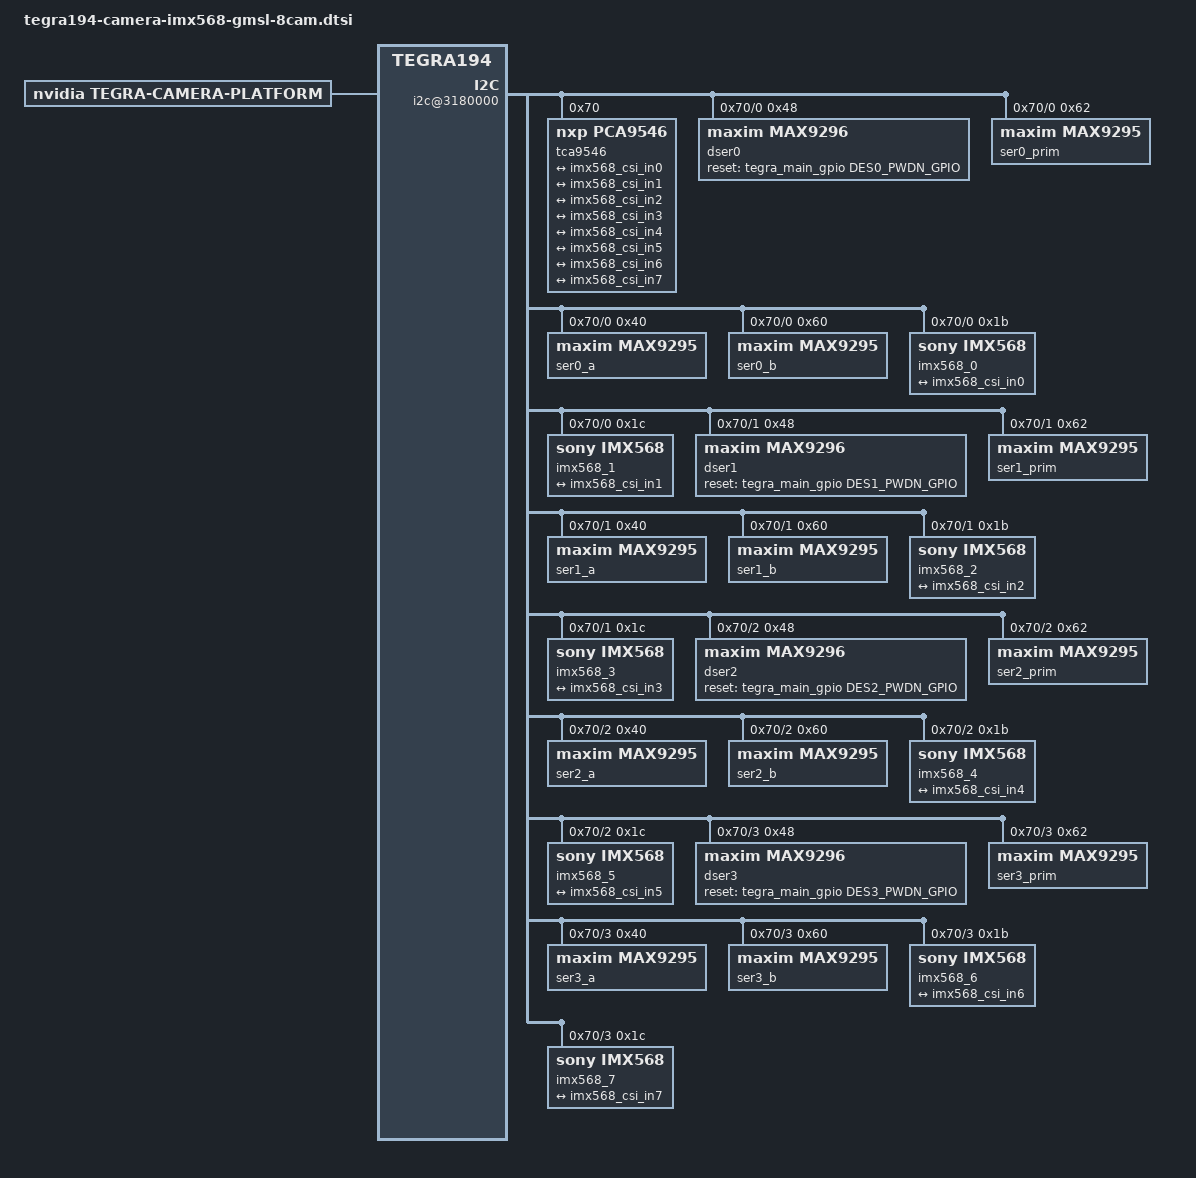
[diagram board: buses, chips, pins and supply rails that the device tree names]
/*
 * tegra194-camera-imx568-gmsl-8cam.dtsi  -- GENERATED by gen_dtsi.py
 *
 * 8 x IMX568 (4 stereo pairs) over GMSL2 on Jetson AGX Xavier (L4T R35.x).
 * Include from your board .dts (e.g. tegra194-p2888-0001-p2822-0000.dts):
 *     #include "tegra194-camera-imx568-gmsl-8cam.dtsi"
 *
 * EDIT THE BOARD MACROS BELOW to match your carrier/camera schematics.
 */
#include <dt-bindings/gpio/tegra194-gpio.h>

/* ---- carrier board: MAX9296A reset (PWDNB) GPIOs from the Xavier camera connector */
#ifndef DES0_PWDN_GPIO
#define DES0_PWDN_GPIO TEGRA194_MAIN_GPIO(H, 3)	/* CAM0_PWDN  - VERIFY */
#define DES1_PWDN_GPIO TEGRA194_MAIN_GPIO(H, 6)	/* CAM1_PWDN  - VERIFY */
#define DES2_PWDN_GPIO TEGRA194_MAIN_GPIO(T, 6)	/* CAM2_PWDN  - VERIFY */
#define DES3_PWDN_GPIO TEGRA194_MAIN_GPIO(T, 7)	/* CAM3_PWDN  - VERIFY */
#endif

/* ---- camera head: MAX9295A MFP numbers (0..10) used for each function.
 * Must match the camera-head schematic; avoid MFPs strapped/used for
 * CFG, LOCK, ERRB, RCLKOUT or I2C pass-through (see MAX9295A DS). */
#define SER_MFP_EN_1V1	0
#define SER_MFP_EN_1V8	1
#define SER_MFP_EN_2V9	2
#define SER_MFP_EN_3V3	3
#define SER_MFP_XCLR	4
#define SER_MFP_XTRIG	7
#define SER_MFP_TOUT0	8

/* ---- MAX9296A: MFP that receives TRIGk from the sync controller and
 * forwards it as GMSL GPIO ID 0 to both links.  GPIO block base and bit
 * layout (GPIO_A: [1]=GPIO_TX_EN [0]=GPIO_OUT_DIS, GPIO_B[4:0]=TX_ID)
 * - VERIFY against the MAX9296A user guide before first power-up. */
#define DES_TRIG_MFP	2
#define DES_GPIO_A(n)	(0x2B0 + 3 * (n))
#define DES_GPIO_B(n)	(0x2B1 + 3 * (n))

/ {
	tegra-capture-vi {
		num-channels = <8>;
		ports {
			#address-cells = <1>;
			#size-cells = <0>;
			port@0 {
				reg = <0>;
				imx568_vi_in0: endpoint {
					vc-id = <0>;
					port-index = <0>;
					bus-width = <4>;
					remote-endpoint = <&imx568_csi_out0>;
				};
			};
			port@1 {
				reg = <1>;
				imx568_vi_in1: endpoint {
					vc-id = <1>;
					port-index = <0>;
					bus-width = <4>;
					remote-endpoint = <&imx568_csi_out1>;
				};
			};
			port@2 {
				reg = <2>;
				imx568_vi_in2: endpoint {
					vc-id = <0>;
					port-index = <2>;
					bus-width = <4>;
					remote-endpoint = <&imx568_csi_out2>;
				};
			};
			port@3 {
				reg = <3>;
				imx568_vi_in3: endpoint {
					vc-id = <1>;
					port-index = <2>;
					bus-width = <4>;
					remote-endpoint = <&imx568_csi_out3>;
				};
			};
			port@4 {
				reg = <4>;
				imx568_vi_in4: endpoint {
					vc-id = <0>;
					port-index = <4>;
					bus-width = <4>;
					remote-endpoint = <&imx568_csi_out4>;
				};
			};
			port@5 {
				reg = <5>;
				imx568_vi_in5: endpoint {
					vc-id = <1>;
					port-index = <4>;
					bus-width = <4>;
					remote-endpoint = <&imx568_csi_out5>;
				};
			};
			port@6 {
				reg = <6>;
				imx568_vi_in6: endpoint {
					vc-id = <0>;
					port-index = <5>;
					bus-width = <4>;
					remote-endpoint = <&imx568_csi_out6>;
				};
			};
			port@7 {
				reg = <7>;
				imx568_vi_in7: endpoint {
					vc-id = <1>;
					port-index = <5>;
					bus-width = <4>;
					remote-endpoint = <&imx568_csi_out7>;
				};
			};
		};
	};

	host1x@13e00000 {
		nvcsi@15a00000 {
			num-channels = <8>;
			#address-cells = <1>;
			#size-cells = <0>;
			channel@0 {
				reg = <0>;
				ports {
					#address-cells = <1>;
					#size-cells = <0>;
					port@0 {
						reg = <0>;
						imx568_csi_in0: endpoint@0 {
							port-index = <0>;
							bus-width = <4>;
							remote-endpoint = <&imx568_out0>;
						};
					};
					port@1 {
						reg = <1>;
						imx568_csi_out0: endpoint@1 {
							remote-endpoint = <&imx568_vi_in0>;
						};
					};
				};
			};
			channel@1 {
				reg = <1>;
				ports {
					#address-cells = <1>;
					#size-cells = <0>;
					port@0 {
						reg = <0>;
						imx568_csi_in1: endpoint@2 {
							port-index = <0>;
							bus-width = <4>;
							remote-endpoint = <&imx568_out1>;
						};
					};
					port@1 {
						reg = <1>;
						imx568_csi_out1: endpoint@3 {
							remote-endpoint = <&imx568_vi_in1>;
						};
					};
				};
			};
			channel@2 {
				reg = <2>;
				ports {
					#address-cells = <1>;
					#size-cells = <0>;
					port@0 {
						reg = <0>;
						imx568_csi_in2: endpoint@4 {
							port-index = <2>;
							bus-width = <4>;
							remote-endpoint = <&imx568_out2>;
						};
					};
					port@1 {
						reg = <1>;
						imx568_csi_out2: endpoint@5 {
							remote-endpoint = <&imx568_vi_in2>;
						};
					};
				};
			};
			channel@3 {
				reg = <3>;
				ports {
					#address-cells = <1>;
					#size-cells = <0>;
					port@0 {
						reg = <0>;
						imx568_csi_in3: endpoint@6 {
							port-index = <2>;
							bus-width = <4>;
							remote-endpoint = <&imx568_out3>;
						};
					};
					port@1 {
						reg = <1>;
						imx568_csi_out3: endpoint@7 {
							remote-endpoint = <&imx568_vi_in3>;
						};
					};
				};
			};
			channel@4 {
				reg = <4>;
				ports {
					#address-cells = <1>;
					#size-cells = <0>;
					port@0 {
						reg = <0>;
						imx568_csi_in4: endpoint@8 {
							port-index = <4>;
							bus-width = <4>;
							remote-endpoint = <&imx568_out4>;
						};
					};
					port@1 {
						reg = <1>;
						imx568_csi_out4: endpoint@9 {
							remote-endpoint = <&imx568_vi_in4>;
						};
					};
				};
			};
			channel@5 {
				reg = <5>;
				ports {
					#address-cells = <1>;
					#size-cells = <0>;
					port@0 {
						reg = <0>;
						imx568_csi_in5: endpoint@10 {
							port-index = <4>;
							bus-width = <4>;
							remote-endpoint = <&imx568_out5>;
						};
					};
					port@1 {
						reg = <1>;
						imx568_csi_out5: endpoint@11 {
							remote-endpoint = <&imx568_vi_in5>;
						};
					};
				};
			};
			channel@6 {
				reg = <6>;
				ports {
					#address-cells = <1>;
					#size-cells = <0>;
					port@0 {
						reg = <0>;
						imx568_csi_in6: endpoint@12 {
							port-index = <6>;
							bus-width = <4>;
							remote-endpoint = <&imx568_out6>;
						};
					};
					port@1 {
						reg = <1>;
						imx568_csi_out6: endpoint@13 {
							remote-endpoint = <&imx568_vi_in6>;
						};
					};
				};
			};
			channel@7 {
				reg = <7>;
				ports {
					#address-cells = <1>;
					#size-cells = <0>;
					port@0 {
						reg = <0>;
						imx568_csi_in7: endpoint@14 {
							port-index = <6>;
							bus-width = <4>;
							remote-endpoint = <&imx568_out7>;
						};
					};
					port@1 {
						reg = <1>;
						imx568_csi_out7: endpoint@15 {
							remote-endpoint = <&imx568_vi_in7>;
						};
					};
				};
			};
		};
	};

	i2c@3180000 {			/* CAM_I2C on the Xavier camera connector */
		tca9546@70 {
			compatible = "nxp,pca9546";
			reg = <0x70>;
			#address-cells = <1>;
			#size-cells = <0>;
			skip_mux_detect = "yes";
			vcc_lp = "vcc";
			force_bus_start = <30>;	/* mux channels become i2c-30..33 */

		i2c@0 {	/* stereo pair 0 (front) */
			reg = <0>;
			i2c-mux,deselect-on-exit;
			#address-cells = <1>;
			#size-cells = <0>;

			dser0: max9296@48 {
				compatible = "maxim,max9296";
				reg = <0x48>;
				csi-mode = "2x4";
				max-src = <2>;
				reset-gpios = <&tegra_main_gpio DES0_PWDN_GPIO GPIO_ACTIVE_HIGH>;
			};
			ser0_prim: max9295_prim@62 {
				compatible = "maxim,max9295";
				reg = <0x62>;		/* power-on address (CFG strap) */
				is-prim-ser;
			};
			ser0_a: max9295_a@40 {
				compatible = "maxim,max9295";
				reg = <0x40>;
				nvidia,gmsl-dser-device = <&dser0>;
			};
			ser0_b: max9295_b@60 {
				compatible = "maxim,max9295";
				reg = <0x60>;
				nvidia,gmsl-dser-device = <&dser0>;
			};

			imx568_0: imx568_a@1b {
				compatible = "sony,imx568";
				reg = <0x1b>;		/* proxy address seen by Tegra */
				def-addr = <0x1a>;		/* IMX568 common 2nd address (DS 14.4) */
				devnode = "video0";
				physical_w = "6.708";
				physical_h = "5.612";
				sensor_model = "imx568";
				use_sensor_mode_id = "true";
				post_crop_frame_drop = "0";
				nvidia,gmsl-ser-device = <&ser0_a>;
				nvidia,gmsl-dser-device = <&dser0>;

				imx568,sync-mode = "fast-trigger";	/* or "master" for bring-up */
				imx568,mfp-en = <SER_MFP_EN_1V1 SER_MFP_EN_1V8 SER_MFP_EN_2V9 SER_MFP_EN_3V3>;
				imx568,mfp-xclr = <SER_MFP_XCLR>;
				imx568,mfp-xtrig = <SER_MFP_XTRIG>;
				imx568,mfp-tout0 = <SER_MFP_TOUT0>;
				imx568,gmsl-gpio-id-trig = <0>;
				imx568,gmsl-gpio-id-tout0 = <1>;
				/* imx568,dser-phy-rate-mbps = <2000>;  needed for 2448x2048 above ~25 fps */
				imx568,dser-init-regs = /bits/ 16 <DES_GPIO_A(DES_TRIG_MFP) 0x03
								   DES_GPIO_B(DES_TRIG_MFP) 0x00>;

				mode0 {	/* 1224x1024 RAW12 (mono, read as Y12) */
					mclk_khz = "74250";
					num_lanes = "4";
					tegra_sinterface = "serial_a";
					vc_id = "0";
					discontinuous_clk = "no";
					dpcm_enable = "false";
					cil_settletime = "0";
					dynamic_pixel_bit_depth = "12";
					csi_pixel_bit_depth = "12";
					mode_type = "bayer";
					pixel_phase = "rggb";	/* mono sensor: no CFA, ISP not used */
					active_w = "1224";
					active_h = "1024";
					readout_orientation = "0";
					line_length = "2400";	/* 4 x HMAX: 1H = line_length / pix_clk_hz */
					inherent_gain = "1";
					pix_clk_hz = "297000000";	/* 4 x 74.25 MHz, >= peak pixel rate */
					serdes_pix_clk_hz = "833333333";
					gain_factor = "10";
					min_gain_val = "0";
					max_gain_val = "480";	/* 48.0 dB */
					step_gain_val = "1";
					default_gain = "0";
					min_hdr_ratio = "1";
					max_hdr_ratio = "1";
					framerate_factor = "1000000";
					min_framerate = "1000000";
					max_framerate = "60000000";
					step_framerate = "1";
					default_framerate = "30000000";
					exposure_factor = "1000000";
					min_exp_time = "10";
					max_exp_time = "15000";
					step_exp_time = "1";
					default_exp_time = "5000";
					embedded_metadata_height = "0";
				};
				mode1 {	/* 2448x2048 RAW12 (mono, read as Y12) */
					mclk_khz = "74250";
					num_lanes = "4";
					tegra_sinterface = "serial_a";
					vc_id = "0";
					discontinuous_clk = "no";
					dpcm_enable = "false";
					cil_settletime = "0";
					dynamic_pixel_bit_depth = "12";
					csi_pixel_bit_depth = "12";
					mode_type = "bayer";
					pixel_phase = "rggb";	/* mono sensor: no CFA, ISP not used */
					active_w = "2448";
					active_h = "2048";
					readout_orientation = "0";
					line_length = "4400";	/* 4 x HMAX: 1H = line_length / pix_clk_hz */
					inherent_gain = "1";
					pix_clk_hz = "297000000";	/* 4 x 74.25 MHz, >= peak pixel rate */
					serdes_pix_clk_hz = "833333333";
					gain_factor = "10";
					min_gain_val = "0";
					max_gain_val = "480";	/* 48.0 dB */
					step_gain_val = "1";
					default_gain = "0";
					min_hdr_ratio = "1";
					max_hdr_ratio = "1";
					framerate_factor = "1000000";
					min_framerate = "1000000";
					max_framerate = "30000000";
					step_framerate = "1";
					default_framerate = "30000000";
					exposure_factor = "1000000";
					min_exp_time = "10";
					max_exp_time = "30000";
					step_exp_time = "1";
					default_exp_time = "5000";
					embedded_metadata_height = "0";
				};

				ports {
					#address-cells = <1>;
					#size-cells = <0>;
					port@0 {
						reg = <0>;
						imx568_out0: endpoint {
							vc-id = <0>;
							port-index = <0>;
							bus-width = <4>;
							remote-endpoint = <&imx568_csi_in0>;
						};
					};
				};

				gmsl-link {
					src-csi-port = "b";	/* MAX9295A CSI input */
					dst-csi-port = "a";	/* MAX9296A CSI output port A (x4) */
					serdes-csi-link = "a";
					csi-mode = "1x4";
					st-vc = <0>;
					vc-id = <0>;
					num-lanes = <4>;
					streams = "raw12";
				};
			};

			imx568_1: imx568_b@1c {
				compatible = "sony,imx568";
				reg = <0x1c>;		/* proxy address seen by Tegra */
				def-addr = <0x1a>;		/* IMX568 common 2nd address (DS 14.4) */
				devnode = "video1";
				physical_w = "6.708";
				physical_h = "5.612";
				sensor_model = "imx568";
				use_sensor_mode_id = "true";
				post_crop_frame_drop = "0";
				nvidia,gmsl-ser-device = <&ser0_b>;
				nvidia,gmsl-dser-device = <&dser0>;

				imx568,sync-mode = "fast-trigger";	/* or "master" for bring-up */
				imx568,mfp-en = <SER_MFP_EN_1V1 SER_MFP_EN_1V8 SER_MFP_EN_2V9 SER_MFP_EN_3V3>;
				imx568,mfp-xclr = <SER_MFP_XCLR>;
				imx568,mfp-xtrig = <SER_MFP_XTRIG>;
				imx568,mfp-tout0 = <SER_MFP_TOUT0>;
				imx568,gmsl-gpio-id-trig = <0>;
				imx568,gmsl-gpio-id-tout0 = <2>;
				/* imx568,dser-phy-rate-mbps = <2000>;  needed for 2448x2048 above ~25 fps */
				imx568,dser-init-regs = /bits/ 16 <DES_GPIO_A(DES_TRIG_MFP) 0x03
								   DES_GPIO_B(DES_TRIG_MFP) 0x00>;

				mode0 {	/* 1224x1024 RAW12 (mono, read as Y12) */
					mclk_khz = "74250";
					num_lanes = "4";
					tegra_sinterface = "serial_a";
					vc_id = "1";
					discontinuous_clk = "no";
					dpcm_enable = "false";
					cil_settletime = "0";
					dynamic_pixel_bit_depth = "12";
					csi_pixel_bit_depth = "12";
					mode_type = "bayer";
					pixel_phase = "rggb";	/* mono sensor: no CFA, ISP not used */
					active_w = "1224";
					active_h = "1024";
					readout_orientation = "0";
					line_length = "2400";	/* 4 x HMAX: 1H = line_length / pix_clk_hz */
					inherent_gain = "1";
					pix_clk_hz = "297000000";	/* 4 x 74.25 MHz, >= peak pixel rate */
					serdes_pix_clk_hz = "833333333";
					gain_factor = "10";
					min_gain_val = "0";
					max_gain_val = "480";	/* 48.0 dB */
					step_gain_val = "1";
					default_gain = "0";
					min_hdr_ratio = "1";
					max_hdr_ratio = "1";
					framerate_factor = "1000000";
					min_framerate = "1000000";
					max_framerate = "60000000";
					step_framerate = "1";
					default_framerate = "30000000";
					exposure_factor = "1000000";
					min_exp_time = "10";
					max_exp_time = "15000";
					step_exp_time = "1";
					default_exp_time = "5000";
					embedded_metadata_height = "0";
				};
				mode1 {	/* 2448x2048 RAW12 (mono, read as Y12) */
					mclk_khz = "74250";
					num_lanes = "4";
					tegra_sinterface = "serial_a";
					vc_id = "1";
					discontinuous_clk = "no";
					dpcm_enable = "false";
					cil_settletime = "0";
					dynamic_pixel_bit_depth = "12";
					csi_pixel_bit_depth = "12";
					mode_type = "bayer";
					pixel_phase = "rggb";	/* mono sensor: no CFA, ISP not used */
					active_w = "2448";
					active_h = "2048";
					readout_orientation = "0";
					line_length = "4400";	/* 4 x HMAX: 1H = line_length / pix_clk_hz */
					inherent_gain = "1";
					pix_clk_hz = "297000000";	/* 4 x 74.25 MHz, >= peak pixel rate */
					serdes_pix_clk_hz = "833333333";
					gain_factor = "10";
					min_gain_val = "0";
					max_gain_val = "480";	/* 48.0 dB */
					step_gain_val = "1";
					default_gain = "0";
					min_hdr_ratio = "1";
					max_hdr_ratio = "1";
					framerate_factor = "1000000";
					min_framerate = "1000000";
					max_framerate = "30000000";
					step_framerate = "1";
					default_framerate = "30000000";
					exposure_factor = "1000000";
					min_exp_time = "10";
					max_exp_time = "30000";
					step_exp_time = "1";
					default_exp_time = "5000";
					embedded_metadata_height = "0";
				};

				ports {
					#address-cells = <1>;
					#size-cells = <0>;
					port@0 {
						reg = <0>;
						imx568_out1: endpoint {
							vc-id = <1>;
							port-index = <0>;
							bus-width = <4>;
							remote-endpoint = <&imx568_csi_in1>;
						};
					};
				};

				gmsl-link {
					src-csi-port = "b";	/* MAX9295A CSI input */
					dst-csi-port = "a";	/* MAX9296A CSI output port A (x4) */
					serdes-csi-link = "b";
					csi-mode = "1x4";
					st-vc = <0>;
					vc-id = <1>;
					num-lanes = <4>;
					streams = "raw12";
				};
			};
		};
		i2c@1 {	/* stereo pair 1 (rear) */
			reg = <1>;
			i2c-mux,deselect-on-exit;
			#address-cells = <1>;
			#size-cells = <0>;

			dser1: max9296@48 {
				compatible = "maxim,max9296";
				reg = <0x48>;
				csi-mode = "2x4";
				max-src = <2>;
				reset-gpios = <&tegra_main_gpio DES1_PWDN_GPIO GPIO_ACTIVE_HIGH>;
			};
			ser1_prim: max9295_prim@62 {
				compatible = "maxim,max9295";
				reg = <0x62>;		/* power-on address (CFG strap) */
				is-prim-ser;
			};
			ser1_a: max9295_a@40 {
				compatible = "maxim,max9295";
				reg = <0x40>;
				nvidia,gmsl-dser-device = <&dser1>;
			};
			ser1_b: max9295_b@60 {
				compatible = "maxim,max9295";
				reg = <0x60>;
				nvidia,gmsl-dser-device = <&dser1>;
			};

			imx568_2: imx568_a@1b {
				compatible = "sony,imx568";
				reg = <0x1b>;		/* proxy address seen by Tegra */
				def-addr = <0x1a>;		/* IMX568 common 2nd address (DS 14.4) */
				devnode = "video2";
				physical_w = "6.708";
				physical_h = "5.612";
				sensor_model = "imx568";
				use_sensor_mode_id = "true";
				post_crop_frame_drop = "0";
				nvidia,gmsl-ser-device = <&ser1_a>;
				nvidia,gmsl-dser-device = <&dser1>;

				imx568,sync-mode = "fast-trigger";	/* or "master" for bring-up */
				imx568,mfp-en = <SER_MFP_EN_1V1 SER_MFP_EN_1V8 SER_MFP_EN_2V9 SER_MFP_EN_3V3>;
				imx568,mfp-xclr = <SER_MFP_XCLR>;
				imx568,mfp-xtrig = <SER_MFP_XTRIG>;
				imx568,mfp-tout0 = <SER_MFP_TOUT0>;
				imx568,gmsl-gpio-id-trig = <0>;
				imx568,gmsl-gpio-id-tout0 = <1>;
				/* imx568,dser-phy-rate-mbps = <2000>;  needed for 2448x2048 above ~25 fps */
				imx568,dser-init-regs = /bits/ 16 <DES_GPIO_A(DES_TRIG_MFP) 0x03
								   DES_GPIO_B(DES_TRIG_MFP) 0x00>;

				mode0 {	/* 1224x1024 RAW12 (mono, read as Y12) */
					mclk_khz = "74250";
					num_lanes = "4";
					tegra_sinterface = "serial_c";
					vc_id = "0";
					discontinuous_clk = "no";
					dpcm_enable = "false";
					cil_settletime = "0";
					dynamic_pixel_bit_depth = "12";
					csi_pixel_bit_depth = "12";
					mode_type = "bayer";
					pixel_phase = "rggb";	/* mono sensor: no CFA, ISP not used */
					active_w = "1224";
					active_h = "1024";
					readout_orientation = "0";
					line_length = "2400";	/* 4 x HMAX: 1H = line_length / pix_clk_hz */
					inherent_gain = "1";
					pix_clk_hz = "297000000";	/* 4 x 74.25 MHz, >= peak pixel rate */
					serdes_pix_clk_hz = "833333333";
					gain_factor = "10";
					min_gain_val = "0";
					max_gain_val = "480";	/* 48.0 dB */
					step_gain_val = "1";
					default_gain = "0";
					min_hdr_ratio = "1";
					max_hdr_ratio = "1";
					framerate_factor = "1000000";
					min_framerate = "1000000";
					max_framerate = "60000000";
					step_framerate = "1";
					default_framerate = "30000000";
					exposure_factor = "1000000";
					min_exp_time = "10";
					max_exp_time = "15000";
					step_exp_time = "1";
					default_exp_time = "5000";
					embedded_metadata_height = "0";
				};
				mode1 {	/* 2448x2048 RAW12 (mono, read as Y12) */
					mclk_khz = "74250";
					num_lanes = "4";
					tegra_sinterface = "serial_c";
					vc_id = "0";
					discontinuous_clk = "no";
					dpcm_enable = "false";
					cil_settletime = "0";
					dynamic_pixel_bit_depth = "12";
					csi_pixel_bit_depth = "12";
					mode_type = "bayer";
					pixel_phase = "rggb";	/* mono sensor: no CFA, ISP not used */
					active_w = "2448";
					active_h = "2048";
					readout_orientation = "0";
					line_length = "4400";	/* 4 x HMAX: 1H = line_length / pix_clk_hz */
					inherent_gain = "1";
					pix_clk_hz = "297000000";	/* 4 x 74.25 MHz, >= peak pixel rate */
					serdes_pix_clk_hz = "833333333";
					gain_factor = "10";
					min_gain_val = "0";
					max_gain_val = "480";	/* 48.0 dB */
					step_gain_val = "1";
					default_gain = "0";
					min_hdr_ratio = "1";
					max_hdr_ratio = "1";
					framerate_factor = "1000000";
					min_framerate = "1000000";
					max_framerate = "30000000";
					step_framerate = "1";
					default_framerate = "30000000";
					exposure_factor = "1000000";
					min_exp_time = "10";
					max_exp_time = "30000";
					step_exp_time = "1";
					default_exp_time = "5000";
					embedded_metadata_height = "0";
				};

				ports {
					#address-cells = <1>;
					#size-cells = <0>;
					port@0 {
						reg = <0>;
						imx568_out2: endpoint {
							vc-id = <0>;
							port-index = <2>;
							bus-width = <4>;
							remote-endpoint = <&imx568_csi_in2>;
						};
					};
				};

				gmsl-link {
					src-csi-port = "b";	/* MAX9295A CSI input */
					dst-csi-port = "a";	/* MAX9296A CSI output port A (x4) */
					serdes-csi-link = "a";
					csi-mode = "1x4";
					st-vc = <0>;
					vc-id = <0>;
					num-lanes = <4>;
					streams = "raw12";
				};
			};

			imx568_3: imx568_b@1c {
				compatible = "sony,imx568";
				reg = <0x1c>;		/* proxy address seen by Tegra */
				def-addr = <0x1a>;		/* IMX568 common 2nd address (DS 14.4) */
				devnode = "video3";
				physical_w = "6.708";
				physical_h = "5.612";
				sensor_model = "imx568";
				use_sensor_mode_id = "true";
				post_crop_frame_drop = "0";
				nvidia,gmsl-ser-device = <&ser1_b>;
				nvidia,gmsl-dser-device = <&dser1>;

				imx568,sync-mode = "fast-trigger";	/* or "master" for bring-up */
				imx568,mfp-en = <SER_MFP_EN_1V1 SER_MFP_EN_1V8 SER_MFP_EN_2V9 SER_MFP_EN_3V3>;
				imx568,mfp-xclr = <SER_MFP_XCLR>;
				imx568,mfp-xtrig = <SER_MFP_XTRIG>;
				imx568,mfp-tout0 = <SER_MFP_TOUT0>;
				imx568,gmsl-gpio-id-trig = <0>;
				imx568,gmsl-gpio-id-tout0 = <2>;
				/* imx568,dser-phy-rate-mbps = <2000>;  needed for 2448x2048 above ~25 fps */
				imx568,dser-init-regs = /bits/ 16 <DES_GPIO_A(DES_TRIG_MFP) 0x03
								   DES_GPIO_B(DES_TRIG_MFP) 0x00>;

				mode0 {	/* 1224x1024 RAW12 (mono, read as Y12) */
					mclk_khz = "74250";
					num_lanes = "4";
					tegra_sinterface = "serial_c";
					vc_id = "1";
					discontinuous_clk = "no";
					dpcm_enable = "false";
					cil_settletime = "0";
					dynamic_pixel_bit_depth = "12";
					csi_pixel_bit_depth = "12";
					mode_type = "bayer";
					pixel_phase = "rggb";	/* mono sensor: no CFA, ISP not used */
					active_w = "1224";
					active_h = "1024";
					readout_orientation = "0";
					line_length = "2400";	/* 4 x HMAX: 1H = line_length / pix_clk_hz */
					inherent_gain = "1";
					pix_clk_hz = "297000000";	/* 4 x 74.25 MHz, >= peak pixel rate */
					serdes_pix_clk_hz = "833333333";
					gain_factor = "10";
					min_gain_val = "0";
					max_gain_val = "480";	/* 48.0 dB */
					step_gain_val = "1";
					default_gain = "0";
					min_hdr_ratio = "1";
					max_hdr_ratio = "1";
					framerate_factor = "1000000";
					min_framerate = "1000000";
					max_framerate = "60000000";
					step_framerate = "1";
					default_framerate = "30000000";
					exposure_factor = "1000000";
					min_exp_time = "10";
					max_exp_time = "15000";
					step_exp_time = "1";
					default_exp_time = "5000";
					embedded_metadata_height = "0";
				};
				mode1 {	/* 2448x2048 RAW12 (mono, read as Y12) */
					mclk_khz = "74250";
					num_lanes = "4";
					tegra_sinterface = "serial_c";
					vc_id = "1";
					discontinuous_clk = "no";
					dpcm_enable = "false";
					cil_settletime = "0";
					dynamic_pixel_bit_depth = "12";
					csi_pixel_bit_depth = "12";
					mode_type = "bayer";
					pixel_phase = "rggb";	/* mono sensor: no CFA, ISP not used */
					active_w = "2448";
					active_h = "2048";
					readout_orientation = "0";
					line_length = "4400";	/* 4 x HMAX: 1H = line_length / pix_clk_hz */
					inherent_gain = "1";
					pix_clk_hz = "297000000";	/* 4 x 74.25 MHz, >= peak pixel rate */
					serdes_pix_clk_hz = "833333333";
					gain_factor = "10";
					min_gain_val = "0";
					max_gain_val = "480";	/* 48.0 dB */
					step_gain_val = "1";
					default_gain = "0";
					min_hdr_ratio = "1";
					max_hdr_ratio = "1";
					framerate_factor = "1000000";
					min_framerate = "1000000";
					max_framerate = "30000000";
					step_framerate = "1";
					default_framerate = "30000000";
					exposure_factor = "1000000";
					min_exp_time = "10";
					max_exp_time = "30000";
					step_exp_time = "1";
					default_exp_time = "5000";
					embedded_metadata_height = "0";
				};

				ports {
					#address-cells = <1>;
					#size-cells = <0>;
					port@0 {
						reg = <0>;
						imx568_out3: endpoint {
							vc-id = <1>;
							port-index = <2>;
							bus-width = <4>;
							remote-endpoint = <&imx568_csi_in3>;
						};
					};
				};

				gmsl-link {
					src-csi-port = "b";	/* MAX9295A CSI input */
					dst-csi-port = "a";	/* MAX9296A CSI output port A (x4) */
					serdes-csi-link = "b";
					csi-mode = "1x4";
					st-vc = <0>;
					vc-id = <1>;
					num-lanes = <4>;
					streams = "raw12";
				};
			};
		};
		i2c@2 {	/* stereo pair 2 (left) */
			reg = <2>;
			i2c-mux,deselect-on-exit;
			#address-cells = <1>;
			#size-cells = <0>;

			dser2: max9296@48 {
				compatible = "maxim,max9296";
				reg = <0x48>;
				csi-mode = "2x4";
				max-src = <2>;
				reset-gpios = <&tegra_main_gpio DES2_PWDN_GPIO GPIO_ACTIVE_HIGH>;
			};
			ser2_prim: max9295_prim@62 {
				compatible = "maxim,max9295";
				reg = <0x62>;		/* power-on address (CFG strap) */
				is-prim-ser;
			};
			ser2_a: max9295_a@40 {
				compatible = "maxim,max9295";
				reg = <0x40>;
				nvidia,gmsl-dser-device = <&dser2>;
			};
			ser2_b: max9295_b@60 {
				compatible = "maxim,max9295";
				reg = <0x60>;
				nvidia,gmsl-dser-device = <&dser2>;
			};

			imx568_4: imx568_a@1b {
				compatible = "sony,imx568";
				reg = <0x1b>;		/* proxy address seen by Tegra */
				def-addr = <0x1a>;		/* IMX568 common 2nd address (DS 14.4) */
				devnode = "video4";
				physical_w = "6.708";
				physical_h = "5.612";
				sensor_model = "imx568";
				use_sensor_mode_id = "true";
				post_crop_frame_drop = "0";
				nvidia,gmsl-ser-device = <&ser2_a>;
				nvidia,gmsl-dser-device = <&dser2>;

				imx568,sync-mode = "fast-trigger";	/* or "master" for bring-up */
				imx568,mfp-en = <SER_MFP_EN_1V1 SER_MFP_EN_1V8 SER_MFP_EN_2V9 SER_MFP_EN_3V3>;
				imx568,mfp-xclr = <SER_MFP_XCLR>;
				imx568,mfp-xtrig = <SER_MFP_XTRIG>;
				imx568,mfp-tout0 = <SER_MFP_TOUT0>;
				imx568,gmsl-gpio-id-trig = <0>;
				imx568,gmsl-gpio-id-tout0 = <1>;
				/* imx568,dser-phy-rate-mbps = <2000>;  needed for 2448x2048 above ~25 fps */
				imx568,dser-init-regs = /bits/ 16 <DES_GPIO_A(DES_TRIG_MFP) 0x03
								   DES_GPIO_B(DES_TRIG_MFP) 0x00>;

				mode0 {	/* 1224x1024 RAW12 (mono, read as Y12) */
					mclk_khz = "74250";
					num_lanes = "4";
					tegra_sinterface = "serial_e";
					vc_id = "0";
					discontinuous_clk = "no";
					dpcm_enable = "false";
					cil_settletime = "0";
					dynamic_pixel_bit_depth = "12";
					csi_pixel_bit_depth = "12";
					mode_type = "bayer";
					pixel_phase = "rggb";	/* mono sensor: no CFA, ISP not used */
					active_w = "1224";
					active_h = "1024";
					readout_orientation = "0";
					line_length = "2400";	/* 4 x HMAX: 1H = line_length / pix_clk_hz */
					inherent_gain = "1";
					pix_clk_hz = "297000000";	/* 4 x 74.25 MHz, >= peak pixel rate */
					serdes_pix_clk_hz = "833333333";
					gain_factor = "10";
					min_gain_val = "0";
					max_gain_val = "480";	/* 48.0 dB */
					step_gain_val = "1";
					default_gain = "0";
					min_hdr_ratio = "1";
					max_hdr_ratio = "1";
					framerate_factor = "1000000";
					min_framerate = "1000000";
					max_framerate = "60000000";
					step_framerate = "1";
					default_framerate = "30000000";
					exposure_factor = "1000000";
					min_exp_time = "10";
					max_exp_time = "15000";
					step_exp_time = "1";
					default_exp_time = "5000";
					embedded_metadata_height = "0";
				};
				mode1 {	/* 2448x2048 RAW12 (mono, read as Y12) */
					mclk_khz = "74250";
					num_lanes = "4";
					tegra_sinterface = "serial_e";
					vc_id = "0";
					discontinuous_clk = "no";
					dpcm_enable = "false";
					cil_settletime = "0";
					dynamic_pixel_bit_depth = "12";
					csi_pixel_bit_depth = "12";
					mode_type = "bayer";
					pixel_phase = "rggb";	/* mono sensor: no CFA, ISP not used */
					active_w = "2448";
					active_h = "2048";
					readout_orientation = "0";
					line_length = "4400";	/* 4 x HMAX: 1H = line_length / pix_clk_hz */
					inherent_gain = "1";
					pix_clk_hz = "297000000";	/* 4 x 74.25 MHz, >= peak pixel rate */
					serdes_pix_clk_hz = "833333333";
					gain_factor = "10";
					min_gain_val = "0";
					max_gain_val = "480";	/* 48.0 dB */
					step_gain_val = "1";
					default_gain = "0";
					min_hdr_ratio = "1";
					max_hdr_ratio = "1";
					framerate_factor = "1000000";
					min_framerate = "1000000";
					max_framerate = "30000000";
					step_framerate = "1";
					default_framerate = "30000000";
					exposure_factor = "1000000";
					min_exp_time = "10";
					max_exp_time = "30000";
					step_exp_time = "1";
					default_exp_time = "5000";
					embedded_metadata_height = "0";
				};

				ports {
					#address-cells = <1>;
					#size-cells = <0>;
					port@0 {
						reg = <0>;
						imx568_out4: endpoint {
							vc-id = <0>;
							port-index = <4>;
							bus-width = <4>;
							remote-endpoint = <&imx568_csi_in4>;
						};
					};
				};

				gmsl-link {
					src-csi-port = "b";	/* MAX9295A CSI input */
					dst-csi-port = "a";	/* MAX9296A CSI output port A (x4) */
					serdes-csi-link = "a";
					csi-mode = "1x4";
					st-vc = <0>;
					vc-id = <0>;
					num-lanes = <4>;
					streams = "raw12";
				};
			};

			imx568_5: imx568_b@1c {
				compatible = "sony,imx568";
				reg = <0x1c>;		/* proxy address seen by Tegra */
				def-addr = <0x1a>;		/* IMX568 common 2nd address (DS 14.4) */
				devnode = "video5";
				physical_w = "6.708";
				physical_h = "5.612";
				sensor_model = "imx568";
				use_sensor_mode_id = "true";
				post_crop_frame_drop = "0";
				nvidia,gmsl-ser-device = <&ser2_b>;
				nvidia,gmsl-dser-device = <&dser2>;

				imx568,sync-mode = "fast-trigger";	/* or "master" for bring-up */
				imx568,mfp-en = <SER_MFP_EN_1V1 SER_MFP_EN_1V8 SER_MFP_EN_2V9 SER_MFP_EN_3V3>;
				imx568,mfp-xclr = <SER_MFP_XCLR>;
				imx568,mfp-xtrig = <SER_MFP_XTRIG>;
				imx568,mfp-tout0 = <SER_MFP_TOUT0>;
				imx568,gmsl-gpio-id-trig = <0>;
				imx568,gmsl-gpio-id-tout0 = <2>;
				/* imx568,dser-phy-rate-mbps = <2000>;  needed for 2448x2048 above ~25 fps */
				imx568,dser-init-regs = /bits/ 16 <DES_GPIO_A(DES_TRIG_MFP) 0x03
								   DES_GPIO_B(DES_TRIG_MFP) 0x00>;

				mode0 {	/* 1224x1024 RAW12 (mono, read as Y12) */
					mclk_khz = "74250";
					num_lanes = "4";
					tegra_sinterface = "serial_e";
					vc_id = "1";
					discontinuous_clk = "no";
					dpcm_enable = "false";
					cil_settletime = "0";
					dynamic_pixel_bit_depth = "12";
					csi_pixel_bit_depth = "12";
					mode_type = "bayer";
					pixel_phase = "rggb";	/* mono sensor: no CFA, ISP not used */
					active_w = "1224";
					active_h = "1024";
					readout_orientation = "0";
					line_length = "2400";	/* 4 x HMAX: 1H = line_length / pix_clk_hz */
					inherent_gain = "1";
					pix_clk_hz = "297000000";	/* 4 x 74.25 MHz, >= peak pixel rate */
					serdes_pix_clk_hz = "833333333";
					gain_factor = "10";
					min_gain_val = "0";
					max_gain_val = "480";	/* 48.0 dB */
					step_gain_val = "1";
					default_gain = "0";
					min_hdr_ratio = "1";
					max_hdr_ratio = "1";
					framerate_factor = "1000000";
					min_framerate = "1000000";
					max_framerate = "60000000";
					step_framerate = "1";
					default_framerate = "30000000";
					exposure_factor = "1000000";
					min_exp_time = "10";
					max_exp_time = "15000";
					step_exp_time = "1";
					default_exp_time = "5000";
					embedded_metadata_height = "0";
				};
				mode1 {	/* 2448x2048 RAW12 (mono, read as Y12) */
					mclk_khz = "74250";
					num_lanes = "4";
					tegra_sinterface = "serial_e";
					vc_id = "1";
					discontinuous_clk = "no";
					dpcm_enable = "false";
					cil_settletime = "0";
					dynamic_pixel_bit_depth = "12";
					csi_pixel_bit_depth = "12";
					mode_type = "bayer";
					pixel_phase = "rggb";	/* mono sensor: no CFA, ISP not used */
					active_w = "2448";
					active_h = "2048";
					readout_orientation = "0";
					line_length = "4400";	/* 4 x HMAX: 1H = line_length / pix_clk_hz */
					inherent_gain = "1";
					pix_clk_hz = "297000000";	/* 4 x 74.25 MHz, >= peak pixel rate */
					serdes_pix_clk_hz = "833333333";
					gain_factor = "10";
					min_gain_val = "0";
					max_gain_val = "480";	/* 48.0 dB */
					step_gain_val = "1";
					default_gain = "0";
					min_hdr_ratio = "1";
					max_hdr_ratio = "1";
					framerate_factor = "1000000";
					min_framerate = "1000000";
					max_framerate = "30000000";
					step_framerate = "1";
					default_framerate = "30000000";
					exposure_factor = "1000000";
					min_exp_time = "10";
					max_exp_time = "30000";
					step_exp_time = "1";
					default_exp_time = "5000";
					embedded_metadata_height = "0";
				};

				ports {
					#address-cells = <1>;
					#size-cells = <0>;
					port@0 {
						reg = <0>;
						imx568_out5: endpoint {
							vc-id = <1>;
							port-index = <4>;
							bus-width = <4>;
							remote-endpoint = <&imx568_csi_in5>;
						};
					};
				};

				gmsl-link {
					src-csi-port = "b";	/* MAX9295A CSI input */
					dst-csi-port = "a";	/* MAX9296A CSI output port A (x4) */
					serdes-csi-link = "b";
					csi-mode = "1x4";
					st-vc = <0>;
					vc-id = <1>;
					num-lanes = <4>;
					streams = "raw12";
				};
			};
		};
		i2c@3 {	/* stereo pair 3 (right) */
			reg = <3>;
			i2c-mux,deselect-on-exit;
			#address-cells = <1>;
			#size-cells = <0>;

			dser3: max9296@48 {
				compatible = "maxim,max9296";
				reg = <0x48>;
				csi-mode = "2x4";
				max-src = <2>;
				reset-gpios = <&tegra_main_gpio DES3_PWDN_GPIO GPIO_ACTIVE_HIGH>;
			};
			ser3_prim: max9295_prim@62 {
				compatible = "maxim,max9295";
				reg = <0x62>;		/* power-on address (CFG strap) */
				is-prim-ser;
			};
			ser3_a: max9295_a@40 {
				compatible = "maxim,max9295";
				reg = <0x40>;
				nvidia,gmsl-dser-device = <&dser3>;
			};
			ser3_b: max9295_b@60 {
				compatible = "maxim,max9295";
				reg = <0x60>;
				nvidia,gmsl-dser-device = <&dser3>;
			};

			imx568_6: imx568_a@1b {
				compatible = "sony,imx568";
				reg = <0x1b>;		/* proxy address seen by Tegra */
				def-addr = <0x1a>;		/* IMX568 common 2nd address (DS 14.4) */
				devnode = "video6";
				physical_w = "6.708";
				physical_h = "5.612";
				sensor_model = "imx568";
				use_sensor_mode_id = "true";
				post_crop_frame_drop = "0";
				nvidia,gmsl-ser-device = <&ser3_a>;
				nvidia,gmsl-dser-device = <&dser3>;

				imx568,sync-mode = "fast-trigger";	/* or "master" for bring-up */
				imx568,mfp-en = <SER_MFP_EN_1V1 SER_MFP_EN_1V8 SER_MFP_EN_2V9 SER_MFP_EN_3V3>;
				imx568,mfp-xclr = <SER_MFP_XCLR>;
				imx568,mfp-xtrig = <SER_MFP_XTRIG>;
				imx568,mfp-tout0 = <SER_MFP_TOUT0>;
				imx568,gmsl-gpio-id-trig = <0>;
				imx568,gmsl-gpio-id-tout0 = <1>;
				/* imx568,dser-phy-rate-mbps = <2000>;  needed for 2448x2048 above ~25 fps */
				imx568,dser-init-regs = /bits/ 16 <DES_GPIO_A(DES_TRIG_MFP) 0x03
								   DES_GPIO_B(DES_TRIG_MFP) 0x00>;

				mode0 {	/* 1224x1024 RAW12 (mono, read as Y12) */
					mclk_khz = "74250";
					num_lanes = "4";
					tegra_sinterface = "serial_g";
					vc_id = "0";
					discontinuous_clk = "no";
					dpcm_enable = "false";
					cil_settletime = "0";
					dynamic_pixel_bit_depth = "12";
					csi_pixel_bit_depth = "12";
					mode_type = "bayer";
					pixel_phase = "rggb";	/* mono sensor: no CFA, ISP not used */
					active_w = "1224";
					active_h = "1024";
					readout_orientation = "0";
					line_length = "2400";	/* 4 x HMAX: 1H = line_length / pix_clk_hz */
					inherent_gain = "1";
					pix_clk_hz = "297000000";	/* 4 x 74.25 MHz, >= peak pixel rate */
					serdes_pix_clk_hz = "833333333";
					gain_factor = "10";
					min_gain_val = "0";
					max_gain_val = "480";	/* 48.0 dB */
					step_gain_val = "1";
					default_gain = "0";
					min_hdr_ratio = "1";
					max_hdr_ratio = "1";
					framerate_factor = "1000000";
					min_framerate = "1000000";
					max_framerate = "60000000";
					step_framerate = "1";
					default_framerate = "30000000";
					exposure_factor = "1000000";
					min_exp_time = "10";
					max_exp_time = "15000";
					step_exp_time = "1";
					default_exp_time = "5000";
					embedded_metadata_height = "0";
				};
				mode1 {	/* 2448x2048 RAW12 (mono, read as Y12) */
					mclk_khz = "74250";
					num_lanes = "4";
					tegra_sinterface = "serial_g";
					vc_id = "0";
					discontinuous_clk = "no";
					dpcm_enable = "false";
					cil_settletime = "0";
					dynamic_pixel_bit_depth = "12";
					csi_pixel_bit_depth = "12";
					mode_type = "bayer";
					pixel_phase = "rggb";	/* mono sensor: no CFA, ISP not used */
					active_w = "2448";
					active_h = "2048";
					readout_orientation = "0";
					line_length = "4400";	/* 4 x HMAX: 1H = line_length / pix_clk_hz */
					inherent_gain = "1";
					pix_clk_hz = "297000000";	/* 4 x 74.25 MHz, >= peak pixel rate */
					serdes_pix_clk_hz = "833333333";
					gain_factor = "10";
					min_gain_val = "0";
					max_gain_val = "480";	/* 48.0 dB */
					step_gain_val = "1";
					default_gain = "0";
					min_hdr_ratio = "1";
					max_hdr_ratio = "1";
					framerate_factor = "1000000";
					min_framerate = "1000000";
					max_framerate = "30000000";
					step_framerate = "1";
					default_framerate = "30000000";
					exposure_factor = "1000000";
					min_exp_time = "10";
					max_exp_time = "30000";
					step_exp_time = "1";
					default_exp_time = "5000";
					embedded_metadata_height = "0";
				};

				ports {
					#address-cells = <1>;
					#size-cells = <0>;
					port@0 {
						reg = <0>;
						imx568_out6: endpoint {
							vc-id = <0>;
							port-index = <6>;
							bus-width = <4>;
							remote-endpoint = <&imx568_csi_in6>;
						};
					};
				};

				gmsl-link {
					src-csi-port = "b";	/* MAX9295A CSI input */
					dst-csi-port = "a";	/* MAX9296A CSI output port A (x4) */
					serdes-csi-link = "a";
					csi-mode = "1x4";
					st-vc = <0>;
					vc-id = <0>;
					num-lanes = <4>;
					streams = "raw12";
				};
			};

			imx568_7: imx568_b@1c {
				compatible = "sony,imx568";
				reg = <0x1c>;		/* proxy address seen by Tegra */
				def-addr = <0x1a>;		/* IMX568 common 2nd address (DS 14.4) */
				devnode = "video7";
				physical_w = "6.708";
				physical_h = "5.612";
				sensor_model = "imx568";
				use_sensor_mode_id = "true";
				post_crop_frame_drop = "0";
				nvidia,gmsl-ser-device = <&ser3_b>;
				nvidia,gmsl-dser-device = <&dser3>;

				imx568,sync-mode = "fast-trigger";	/* or "master" for bring-up */
				imx568,mfp-en = <SER_MFP_EN_1V1 SER_MFP_EN_1V8 SER_MFP_EN_2V9 SER_MFP_EN_3V3>;
				imx568,mfp-xclr = <SER_MFP_XCLR>;
				imx568,mfp-xtrig = <SER_MFP_XTRIG>;
				imx568,mfp-tout0 = <SER_MFP_TOUT0>;
				imx568,gmsl-gpio-id-trig = <0>;
				imx568,gmsl-gpio-id-tout0 = <2>;
				/* imx568,dser-phy-rate-mbps = <2000>;  needed for 2448x2048 above ~25 fps */
				imx568,dser-init-regs = /bits/ 16 <DES_GPIO_A(DES_TRIG_MFP) 0x03
								   DES_GPIO_B(DES_TRIG_MFP) 0x00>;

				mode0 {	/* 1224x1024 RAW12 (mono, read as Y12) */
					mclk_khz = "74250";
					num_lanes = "4";
					tegra_sinterface = "serial_g";
					vc_id = "1";
					discontinuous_clk = "no";
					dpcm_enable = "false";
					cil_settletime = "0";
					dynamic_pixel_bit_depth = "12";
					csi_pixel_bit_depth = "12";
					mode_type = "bayer";
					pixel_phase = "rggb";	/* mono sensor: no CFA, ISP not used */
					active_w = "1224";
					active_h = "1024";
					readout_orientation = "0";
					line_length = "2400";	/* 4 x HMAX: 1H = line_length / pix_clk_hz */
					inherent_gain = "1";
					pix_clk_hz = "297000000";	/* 4 x 74.25 MHz, >= peak pixel rate */
					serdes_pix_clk_hz = "833333333";
					gain_factor = "10";
					min_gain_val = "0";
					max_gain_val = "480";	/* 48.0 dB */
					step_gain_val = "1";
					default_gain = "0";
					min_hdr_ratio = "1";
					max_hdr_ratio = "1";
					framerate_factor = "1000000";
					min_framerate = "1000000";
					max_framerate = "60000000";
					step_framerate = "1";
					default_framerate = "30000000";
					exposure_factor = "1000000";
					min_exp_time = "10";
					max_exp_time = "15000";
					step_exp_time = "1";
					default_exp_time = "5000";
					embedded_metadata_height = "0";
				};
				mode1 {	/* 2448x2048 RAW12 (mono, read as Y12) */
					mclk_khz = "74250";
					num_lanes = "4";
					tegra_sinterface = "serial_g";
					vc_id = "1";
					discontinuous_clk = "no";
					dpcm_enable = "false";
					cil_settletime = "0";
					dynamic_pixel_bit_depth = "12";
					csi_pixel_bit_depth = "12";
					mode_type = "bayer";
					pixel_phase = "rggb";	/* mono sensor: no CFA, ISP not used */
					active_w = "2448";
					active_h = "2048";
					readout_orientation = "0";
					line_length = "4400";	/* 4 x HMAX: 1H = line_length / pix_clk_hz */
					inherent_gain = "1";
					pix_clk_hz = "297000000";	/* 4 x 74.25 MHz, >= peak pixel rate */
					serdes_pix_clk_hz = "833333333";
					gain_factor = "10";
					min_gain_val = "0";
					max_gain_val = "480";	/* 48.0 dB */
					step_gain_val = "1";
					default_gain = "0";
					min_hdr_ratio = "1";
					max_hdr_ratio = "1";
					framerate_factor = "1000000";
					min_framerate = "1000000";
					max_framerate = "30000000";
					step_framerate = "1";
					default_framerate = "30000000";
					exposure_factor = "1000000";
					min_exp_time = "10";
					max_exp_time = "30000";
					step_exp_time = "1";
					default_exp_time = "5000";
					embedded_metadata_height = "0";
				};

				ports {
					#address-cells = <1>;
					#size-cells = <0>;
					port@0 {
						reg = <0>;
						imx568_out7: endpoint {
							vc-id = <1>;
							port-index = <6>;
							bus-width = <4>;
							remote-endpoint = <&imx568_csi_in7>;
						};
					};
				};

				gmsl-link {
					src-csi-port = "b";	/* MAX9295A CSI input */
					dst-csi-port = "a";	/* MAX9296A CSI output port A (x4) */
					serdes-csi-link = "b";
					csi-mode = "1x4";
					st-vc = <0>;
					vc-id = <1>;
					num-lanes = <4>;
					streams = "raw12";
				};
			};
		};
		};
	};

	tegra-camera-platform {
		compatible = "nvidia, tegra-camera-platform";
		num_csi_lanes = <16>;
		max_lane_speed = <2500000>;
		min_bits_per_pixel = <12>;
		vi_peak_byte_per_pixel = <2>;
		vi_bw_margin_pct = <25>;
		max_pixel_rate = <2400000>;
		isp_peak_byte_per_pixel = <5>;
		isp_bw_margin_pct = <25>;
		modules {
			module0 {
				badge = "imx568_front_left";
				position = "front";
				orientation = "1";
				drivernode0 {
					pcl_id = "v4l2_sensor";
					devname = "imx568 30-001b";
					proc-device-tree = "/proc/device-tree/i2c@3180000/tca9546@70/i2c@0/imx568_a@1b";
				};
			};
			module1 {
				badge = "imx568_front_right";
				position = "rear";
				orientation = "1";
				drivernode0 {
					pcl_id = "v4l2_sensor";
					devname = "imx568 30-001c";
					proc-device-tree = "/proc/device-tree/i2c@3180000/tca9546@70/i2c@0/imx568_b@1c";
				};
			};
			module2 {
				badge = "imx568_rear_left";
				position = "topleft";
				orientation = "1";
				drivernode0 {
					pcl_id = "v4l2_sensor";
					devname = "imx568 31-001b";
					proc-device-tree = "/proc/device-tree/i2c@3180000/tca9546@70/i2c@1/imx568_a@1b";
				};
			};
			module3 {
				badge = "imx568_rear_right";
				position = "topright";
				orientation = "1";
				drivernode0 {
					pcl_id = "v4l2_sensor";
					devname = "imx568 31-001c";
					proc-device-tree = "/proc/device-tree/i2c@3180000/tca9546@70/i2c@1/imx568_b@1c";
				};
			};
			module4 {
				badge = "imx568_left_left";
				position = "bottomleft";
				orientation = "1";
				drivernode0 {
					pcl_id = "v4l2_sensor";
					devname = "imx568 32-001b";
					proc-device-tree = "/proc/device-tree/i2c@3180000/tca9546@70/i2c@2/imx568_a@1b";
				};
			};
			module5 {
				badge = "imx568_left_right";
				position = "bottomright";
				orientation = "1";
				drivernode0 {
					pcl_id = "v4l2_sensor";
					devname = "imx568 32-001c";
					proc-device-tree = "/proc/device-tree/i2c@3180000/tca9546@70/i2c@2/imx568_b@1c";
				};
			};
			module6 {
				badge = "imx568_right_left";
				position = "centerleft";
				orientation = "1";
				drivernode0 {
					pcl_id = "v4l2_sensor";
					devname = "imx568 33-001b";
					proc-device-tree = "/proc/device-tree/i2c@3180000/tca9546@70/i2c@3/imx568_a@1b";
				};
			};
			module7 {
				badge = "imx568_right_right";
				position = "centerright";
				orientation = "1";
				drivernode0 {
					pcl_id = "v4l2_sensor";
					devname = "imx568 33-001c";
					proc-device-tree = "/proc/device-tree/i2c@3180000/tca9546@70/i2c@3/imx568_b@1c";
				};
			};
		};
	};
};
